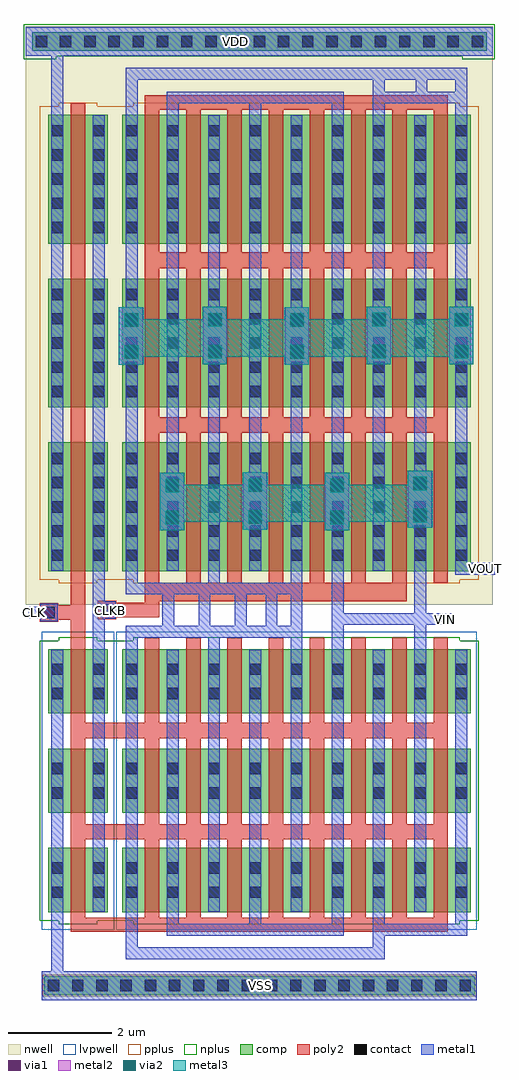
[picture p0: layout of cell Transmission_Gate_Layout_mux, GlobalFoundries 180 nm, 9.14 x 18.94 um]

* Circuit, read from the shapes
.subckt Transmission_Gate_Layout_mux CLK CLKB VDD VIN VOUT VSS
XM1 CLKB CLK VSS VSS nfet_03v3 w=1.25u l=0.28u m=3
XM2 VIN CLK VOUT VSS nfet_03v3 w=1.25u l=0.28u m=24
XM3 CLKB CLK VDD VDD pfet_03v3 w=2.5u l=0.28u m=3
XM4 VIN CLKB VOUT VDD pfet_03v3 w=2.5u l=0.28u m=24
.ends

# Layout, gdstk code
import gdstk
lib = gdstk.Library(unit=1e-6, precision=1e-09)
def R(c, l, rs):  # rectangles x0, y0, x1, y1
    for r in rs: c.add(gdstk.rectangle(r[:2], r[2:], *l))
def A(c, l, x, y, w, h, nx, ny, dx, dy):  # array of equal rectangles
    R(c, l, [(x+i*dx, y+j*dy, x+i*dx+w, y+j*dy+h) for i in range(nx) for j in range(ny)])
nwell = (21, 0)
comp = (22, 0)
poly2 = (30, 0)
pplus = (31, 0)
nplus = (32, 0)
contact = (33, 0)
metal1 = (34, 0)
via1 = (35, 0)
metal2 = (36, 0)
via2 = (38, 0)
metal3 = (42, 0)
lvpwell = (204, 0)

pmos_3p3_metukr_0 = lib.new_cell('pmos_3p3_METUKR#0')
R(pmos_3p3_metukr_0, nwell, [(-1.01,-5.08,1.01,5.08)])
A(pmos_3p3_metukr_0, comp, -0.58, -4.43, 1.16, 2.5, 1, 3, 0, 3.18)
A(pmos_3p3_metukr_0, poly2, -0.14, -4.65, 0.28, 2.94, 1, 3, 0, 3.18)
R(pmos_3p3_metukr_0, pplus, [(-0.37,-4.66,0.37,-4.59), (-0.74,-4.59,0.74,4.59), (-0.37,4.59,0.37,4.66)])
A(pmos_3p3_metukr_0, contact, -0.51, -4.23, 0.22, 0.22, 1, 5, 0, 0.47)
A(pmos_3p3_metukr_0, contact, 0.29, -4.23, 0.22, 0.22, 1, 5, 0, 0.47)
A(pmos_3p3_metukr_0, contact, -0.51, -1.05, 0.22, 0.22, 1, 5, 0, 0.47)
A(pmos_3p3_metukr_0, contact, 0.29, -1.05, 0.22, 0.22, 1, 5, 0, 0.47)
A(pmos_3p3_metukr_0, contact, -0.51, 2.13, 0.22, 0.22, 1, 5, 0, 0.47)
A(pmos_3p3_metukr_0, contact, 0.29, 2.13, 0.22, 0.22, 1, 5, 0, 0.47)
A(pmos_3p3_metukr_0, metal1, -0.515, -4.42, 0.23, 2.48, 1, 3, 0, 3.18)
A(pmos_3p3_metukr_0, metal1, 0.285, -4.42, 0.23, 2.48, 1, 3, 0, 3.18)

pmos_3p3_m6sukr_0 = lib.new_cell('pmos_3p3_M6SUKR#0')
R(pmos_3p3_m6sukr_0, nwell, [(-3.81,-5.08,3.81,5.08)])
A(pmos_3p3_m6sukr_0, comp, -3.38, -4.43, 6.76, 2.5, 1, 3, 0, 3.18)
A(pmos_3p3_m6sukr_0, poly2, -2.94, -4.65, 0.28, 2.94, 8, 3, 0.8, 3.18)
R(pmos_3p3_m6sukr_0, pplus, [(-3.17,-4.66,3.17,-4.59), (-3.54,-4.59,3.54,4.59), (-3.17,4.59,3.17,4.66)])
A(pmos_3p3_m6sukr_0, contact, -3.31, -4.23, 0.22, 0.22, 9, 5, 0.8, 0.47)
A(pmos_3p3_m6sukr_0, contact, -3.31, -1.05, 0.22, 0.22, 9, 5, 0.8, 0.47)
A(pmos_3p3_m6sukr_0, contact, -3.31, 2.13, 0.22, 0.22, 9, 5, 0.8, 0.47)
A(pmos_3p3_m6sukr_0, metal1, -3.315, -4.42, 0.23, 2.48, 9, 3, 0.8, 3.18)

nmos_3p3_y4jrt2_0 = lib.new_cell('nmos_3p3_Y4JRT2#0')
A(nmos_3p3_y4jrt2_0, comp, -0.58, -2.555, 1.16, 1.25, 1, 3, 0, 1.93)
A(nmos_3p3_y4jrt2_0, poly2, -0.14, -2.775, 0.28, 1.69, 1, 3, 0, 1.93)
R(nmos_3p3_y4jrt2_0, nplus, [(-0.37,-2.785,0.37,-2.715), (-0.74,-2.715,0.74,2.715), (-0.37,2.715,0.37,2.785)])
R(nmos_3p3_y4jrt2_0, contact, [(-0.51,-2.275,-0.29,-2.055), (0.29,-2.275,0.51,-2.055), (-0.51,-1.805,-0.29,-1.585), (0.29,-1.805,0.51,-1.585), (-0.51,-0.345,-0.29,-0.125), (0.29,-0.345,0.51,-0.125), (-0.51,0.125,-0.29,0.345), (0.29,0.125,0.51,0.345), (-0.51,1.585,-0.29,1.805), (0.29,1.585,0.51,1.805), (-0.51,2.055,-0.29,2.275), (0.29,2.055,0.51,2.275)])
A(nmos_3p3_y4jrt2_0, metal1, -0.515, -2.545, 0.23, 1.23, 1, 3, 0, 1.93)
A(nmos_3p3_y4jrt2_0, metal1, 0.285, -2.545, 0.23, 1.23, 1, 3, 0, 1.93)
R(nmos_3p3_y4jrt2_0, lvpwell, [(-0.7,-2.895,0.7,2.895)])

nmos_3p3_rzhrt2_0 = lib.new_cell('nmos_3p3_RZHRT2#0')
A(nmos_3p3_rzhrt2_0, comp, -3.38, -2.555, 6.76, 1.25, 1, 3, 0, 1.93)
A(nmos_3p3_rzhrt2_0, poly2, -2.94, -2.775, 0.28, 1.69, 8, 3, 0.8, 1.93)
R(nmos_3p3_rzhrt2_0, nplus, [(-3.17,-2.785,3.17,-2.715), (-3.54,-2.715,3.54,2.715), (-3.17,2.715,3.17,2.785)])
A(nmos_3p3_rzhrt2_0, contact, -3.31, -2.275, 0.22, 0.22, 9, 2, 0.8, 0.47)
A(nmos_3p3_rzhrt2_0, contact, -3.31, -0.345, 0.22, 0.22, 9, 2, 0.8, 0.47)
A(nmos_3p3_rzhrt2_0, contact, -3.31, 1.585, 0.22, 0.22, 9, 2, 0.8, 0.47)
A(nmos_3p3_rzhrt2_0, metal1, -3.315, -2.545, 0.23, 1.23, 9, 3, 0.8, 1.93)
R(nmos_3p3_rzhrt2_0, lvpwell, [(-3.5,-2.895,3.5,2.895)])

transmission_gate_layout = lib.new_cell('Transmission_Gate_Layout_mux')
R(transmission_gate_layout, nwell, [(-1.75,16.47,7.31,17.54)])
R(transmission_gate_layout, comp, [(-1.395,-1.26,6.955,-0.9), (-1.63,17.06,7.19,17.42)])
A(transmission_gate_layout, poly2, 0.56, 1.56, 0.28, 0.195, 8, 1, 0.8, 0)
A(transmission_gate_layout, poly2, 0.56, 2.055, 0.28, 1.665, 8, 1, 0.8, 0)
A(transmission_gate_layout, poly2, 0.56, 4.02, 0.28, 0.18, 8, 1, 0.8, 0)
A(transmission_gate_layout, poly2, 0.56, 9.31, 0.28, 0.335, 8, 1, 0.8, 0)
A(transmission_gate_layout, poly2, 0.56, 9.95, 0.28, 1.155, 8, 1, 0.8, 0)
A(transmission_gate_layout, poly2, 0.56, 11.86, 0.28, 0.985, 8, 1, 0.8, 0)
A(transmission_gate_layout, poly2, 0.56, 13.15, 0.28, 0.05, 8, 1, 0.8, 0)
R(transmission_gate_layout, poly2, [(-0.88,-0.04,6.44,0.24), (-0.88,1.59,-0.6,1.755), (-0.88,1.755,6.44,2.055), (-0.88,2.055,-0.6,3.72), (-0.88,3.72,6.44,4.02), (-0.88,4.02,-0.6,6.02), (-1.48,5.98,-1.12,6.02), (-1.48,6.02,-0.6,6.3), (-0.36,6.03,0,6.07), (-0.36,6.07,0.84,6.35), (-1.48,6.3,-1.12,6.34), (-0.88,6.3,-0.6,6.84), (-0.36,6.35,0,6.39), (0.56,6.35,0.84,6.38), (0.56,6.38,5.64,6.74), (0.56,6.74,0.84,6.84), (-0.88,9.28,-0.6,13.17), (0.56,9.645,6.44,9.95), (0.56,12.845,6.44,13.15), (0.56,15.92,6.44,16.2)])
R(transmission_gate_layout, pplus, [(-1.425,-1.29,6.985,-0.87)])
R(transmission_gate_layout, nplus, [(-1.79,16.9,-1.16,16.95), (6.72,16.9,7.35,16.95), (-1.79,16.95,7.35,17.58)])
A(transmission_gate_layout, contact, -1.325, -1.19, 0.22, 0.22, 18, 1, 0.47, 0)
A(transmission_gate_layout, contact, -1.56, 17.13, 0.22, 0.22, 19, 1, 0.47, 0)
R(transmission_gate_layout, contact, [(-1.41,6.05,-1.19,6.27), (-0.29,6.1,-0.07,6.32)])
A(transmission_gate_layout, metal1, 0.985, 11.86, 0.23, 4.18, 3, 1, 1.6, 0)
R(transmission_gate_layout, metal1, [(-1.44,-1.36,7,-0.8), (-1.255,-0.8,-1.025,4.35), (0.185,-0.57,5.215,-0.34), (0.185,-0.34,0.415,0.49), (4.985,-0.34,5.215,-0.11), (0.985,-0.11,4.415,0.12), (4.985,-0.11,6.815,0.12), (0.985,0.12,1.215,4.265), (2.585,0.12,2.815,4.27), (4.185,0.12,4.415,5.92), (4.985,0.12,5.215,4.265), (6.585,0.12,6.815,4.27), (3.385,1.5,3.615,5.67), (1.785,1.515,2.015,5.67), (-0.455,1.525,-0.225,6.04), (0.185,1.525,0.415,5.67), (5.785,1.525,6.015,5.92), (0.185,5.67,3.615,5.9), (0.9,5.9,1.13,6.51), (1.6,5.9,1.83,6.51), (2.305,5.9,2.535,6.51), (2.9,5.9,3.13,6.51), (3.385,5.9,3.615,6.51), (4.185,5.92,6.53,6.15), (-1.47,5.99,-1.13,6.045), (-0.455,6.04,-0.01,6.38), (-1.695,6.045,-1.13,6.275), (4.185,6.15,4.415,7.27), (5.785,6.15,6.015,7.8), (-1.47,6.275,-1.13,6.33), (-0.455,6.38,-0.225,13.645), (0.185,6.51,3.615,6.74), (0.185,6.74,0.415,10.97), (1.785,6.74,2.015,7.825), (3.385,6.74,3.615,7.825), (6.585,6.895,7.355,7.125), (6.585,7.125,6.815,10.975), (0.85,7.755,1.32,8.87), (4.05,7.76,4.52,8.875), (2.46,7.765,2.93,8.88), (5.66,7.8,6.13,8.915), (1.785,8.735,2.015,10.975), (3.385,8.735,3.615,10.97), (5.785,8.915,6.015,11.105), (-1.255,9.155,-1.025,16.96), (2.585,9.245,2.815,11.105), (4.185,9.245,4.415,11.105), (0.985,9.25,1.215,11.105), (4.985,9.25,5.215,10.98), (0.055,10.97,0.525,12.085), (3.27,10.97,3.74,12.085), (1.68,10.975,2.15,12.09), (6.46,10.975,6.93,12.09), (4.86,10.98,5.33,12.095), (5.785,11.86,6.015,13.6), (0.185,12.085,0.415,16.5), (3.385,12.085,3.615,13.595), (1.785,12.09,2.015,13.54), (6.585,12.09,6.815,16.04), (4.985,12.095,5.215,16.04), (0.985,16.04,4.415,16.27), (4.985,16.04,6.815,16.27), (4.985,16.27,5.215,16.5), (5.81,16.27,6.04,16.5), (6.585,16.27,6.815,16.5), (0.185,16.5,6.815,16.73), (-1.75,16.96,7.31,17.52)])
R(transmission_gate_layout, via1, [(0.96,7.87,1.22,8.13), (4.16,7.875,4.42,8.135), (2.57,7.88,2.83,8.14), (5.77,7.915,6.03,8.175), (0.96,8.49,1.22,8.75), (4.16,8.495,4.42,8.755), (2.57,8.5,2.83,8.76), (5.77,8.535,6.03,8.795), (0.165,11.085,0.425,11.345), (3.38,11.085,3.64,11.345), (1.79,11.09,2.05,11.35), (6.57,11.09,6.83,11.35), (4.97,11.095,5.23,11.355), (0.165,11.705,0.425,11.965), (3.38,11.705,3.64,11.965), (1.79,11.71,2.05,11.97), (6.57,11.71,6.83,11.97), (4.97,11.715,5.23,11.975)])
R(transmission_gate_layout, metal2, [(0.85,7.755,1.32,8.87), (4.05,7.76,4.52,8.875), (2.46,7.765,2.93,8.88), (5.66,7.8,6.13,8.915), (0.055,10.97,0.525,12.085), (3.27,10.97,3.74,12.085), (1.68,10.975,2.15,12.09), (6.46,10.975,6.93,12.09), (4.86,10.98,5.33,12.095)])
R(transmission_gate_layout, via2, [(0.96,7.87,1.22,8.13), (4.16,7.875,4.42,8.135), (2.57,7.88,2.83,8.14), (5.77,7.915,6.03,8.175), (0.96,8.49,1.22,8.75), (4.16,8.495,4.42,8.755), (2.57,8.5,2.83,8.76), (5.77,8.535,6.03,8.795), (0.165,11.085,0.425,11.345), (3.38,11.085,3.64,11.345), (1.79,11.09,2.05,11.35), (6.57,11.09,6.83,11.35), (4.97,11.095,5.23,11.355), (0.165,11.705,0.425,11.965), (3.38,11.705,3.64,11.965), (1.79,11.71,2.05,11.97), (6.57,11.71,6.83,11.97), (4.97,11.715,5.23,11.975)])
R(transmission_gate_layout, metal3, [(0.85,7.755,1.32,7.92), (4.05,7.76,4.52,7.92), (2.46,7.765,2.93,7.92), (5.66,7.8,6.13,7.92), (0.85,7.92,6.13,8.635), (0.85,8.635,1.32,8.87), (2.46,8.635,2.93,8.88), (4.05,8.635,4.52,8.875), (5.66,8.635,6.13,8.915), (0.055,10.97,0.525,11.12), (3.27,10.97,3.74,11.12), (1.68,10.975,2.15,11.12), (6.46,10.975,6.93,11.12), (4.86,10.98,5.33,11.12), (0.055,11.12,6.93,11.855), (0.055,11.855,0.525,12.085), (1.68,11.855,2.15,12.09), (3.27,11.855,3.74,12.085), (4.86,11.855,5.33,12.095), (6.46,11.855,6.93,12.09)])
transmission_gate_layout.add(gdstk.Reference(pmos_3p3_metukr_0, (-0.74,11.39)))
transmission_gate_layout.add(gdstk.Reference(pmos_3p3_m6sukr_0, (3.5,11.39)))
transmission_gate_layout.add(gdstk.Reference(nmos_3p3_y4jrt2_0, (-0.74,2.895)))
transmission_gate_layout.add(gdstk.Reference(nmos_3p3_rzhrt2_0, (3.5,2.895)))
transmission_gate_layout.add(gdstk.Label('VSS', (2.805,-1.08), layer=34, texttype=10))
transmission_gate_layout.add(gdstk.Label('VDD', (2.31,17.24), layer=22, texttype=0))
transmission_gate_layout.add(gdstk.Label('CLKB', (-0.11,6.195), layer=30, texttype=10))
transmission_gate_layout.add(gdstk.Label('VIN', (6.39,6.02), layer=34, texttype=10))
transmission_gate_layout.add(gdstk.Label('VOUT', (7.165,7.02), layer=34, texttype=10))
transmission_gate_layout.add(gdstk.Label('CLK', (-1.59,6.16), layer=34, texttype=10))

lib.write_gds('Transmission_Gate_Layout_mux.gds')
